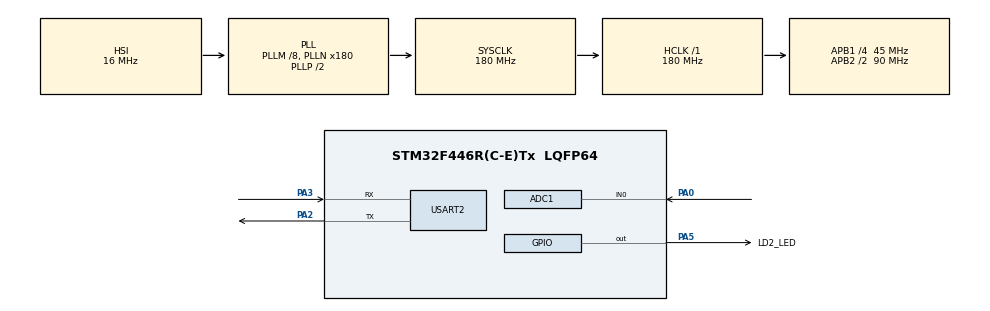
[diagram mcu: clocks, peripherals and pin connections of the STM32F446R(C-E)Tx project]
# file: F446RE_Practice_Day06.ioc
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ADC1.Channel-0\#ChannelRegularConversion=ADC_CHANNEL_0
ADC1.DMAContinuousRequests=ENABLE
ADC1.ExternalTrigConv=ADC_EXTERNALTRIGCONV_T3_TRGO
ADC1.NbrOfConversionFlag=1
ADC1.Rank-0\#ChannelRegularConversion=1
ADC1.SamplingTime-0\#ChannelRegularConversion=ADC_SAMPLETIME_84CYCLES
ADC1.master=1
Dma.ADC1.0.Direction=DMA_PERIPH_TO_MEMORY
Dma.ADC1.0.FIFOMode=DMA_FIFOMODE_DISABLE
Dma.ADC1.0.Instance=DMA2_Stream0
Dma.ADC1.0.MemDataAlignment=DMA_MDATAALIGN_HALFWORD
Dma.ADC1.0.MemInc=DMA_MINC_ENABLE
Dma.ADC1.0.Mode=DMA_CIRCULAR
Dma.ADC1.0.PeriphDataAlignment=DMA_PDATAALIGN_HALFWORD
Dma.ADC1.0.PeriphInc=DMA_PINC_DISABLE
Dma.ADC1.0.Priority=DMA_PRIORITY_LOW
Dma.Request0=ADC1
Mcu.Family=STM32F4
Mcu.Name=STM32F446R(C-E)Tx
Mcu.Package=LQFP64
NVIC.DMA2_Stream0_IRQn=true\:0\:0\:false\:false\:true\:false\:true\:true
NVIC.PriorityGroup=NVIC_PRIORITYGROUP_4
PA0-WKUP.Signal=ADCx_IN0
PA13.Mode=Serial_Wire
PA13.Signal=SYS_JTMS-SWDIO
PA14.Mode=Serial_Wire
PA14.Signal=SYS_JTCK-SWCLK
PA2.Mode=Asynchronous
PA2.Signal=USART2_TX
PA3.Mode=Asynchronous
PA3.Signal=USART2_RX
PA5.GPIO_Label=LD2_LED
PA5.Signal=GPIO_Output
ProjectManager.HeapSize=0x200
ProjectManager.StackSize=0x400
ProjectManager.TargetToolchain=STM32CubeIDE
RCC.AHBFreq_Value=180000000
RCC.APB1CLKDivider=RCC_HCLK_DIV4
RCC.APB1Freq_Value=45000000
RCC.APB1TimFreq_Value=90000000
RCC.APB2CLKDivider=RCC_HCLK_DIV2
RCC.APB2Freq_Value=90000000
RCC.APB2TimFreq_Value=180000000
RCC.CortexFreq_Value=180000000
RCC.HCLKFreq_Value=180000000
RCC.PLLM=8
RCC.PLLN=180
RCC.SYSCLKFreq_VALUE=180000000
RCC.SYSCLKSource=RCC_SYSCLKSOURCE_PLLCLK
RCC.USBFreq_Value=180000000
RCC.VCOOutputFreq_Value=360000000
SH.ADCx_IN0.0=ADC1_IN0,IN0
TIM3.Period=9
TIM3.Prescaler=8999
TIM3.TIM_MasterOutputTrigger=TIM_TRGO_UPDATE
USART2.VirtualMode=VM_ASYNC
VP_TIM3_VS_ClockSourceINT.Mode=Internal
board=custom

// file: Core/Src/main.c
/* USER CODE BEGIN Header */
/**
  ******************************************************************************
  * @file           : main.c
  * @brief          : Main program body
  ******************************************************************************
  * @attention
  *
  * Copyright (c) 2026 STMicroelectronics.
  * All rights reserved.
  *
  * This software is licensed under terms that can be found in the LICENSE file
  * in the root directory of this software component.
  * If no LICENSE file comes with this software, it is provided AS-IS.
  *
  ******************************************************************************
  */
/* USER CODE END Header */
#include "main.h"

ADC_HandleTypeDef hadc1;
DMA_HandleTypeDef hdma_adc1;

TIM_HandleTypeDef htim3;

UART_HandleTypeDef huart2;

/* USER CODE BEGIN PV */

#define ADC_BUFFER_SIZE 64U
#define ADC_HALF_SIZE   (ADC_BUFFER_SIZE / 2U)

uint16_t adc_buffer[ADC_BUFFER_SIZE];

volatile uint8_t adc_ready_flags = 0U;

volatile uint16_t adc_average_raw = 0U;
volatile uint32_t adc_voltage_mv = 0U;
volatile uint32_t adc_block_count = 0U;

/* USER CODE END PV */

void SystemClock_Config(void);
static void MX_GPIO_Init(void);
static void MX_DMA_Init(void);
static void MX_ADC1_Init(void);
static void MX_USART2_UART_Init(void);
static void MX_TIM3_Init(void);

/* USER CODE BEGIN 0 */

static uint16_t ADC_CalculateAverage(
    const uint16_t *samples,
    uint32_t count)
{
    uint32_t sum = 0U;

    for (uint32_t i = 0U; i < count; i++)
    {
        sum += samples[i];
    }

    return (uint16_t)(sum / count);
}

/* USER CODE END 0 */

int main(void)
{

  /* MCU Configuration--------------------------------------------------------*/

  /* Reset of all peripherals, Initializes the Flash interface and the Systick. */
  HAL_Init();

  /* Configure the system clock */
  SystemClock_Config();

  /* Initialize all configured peripherals */
  MX_GPIO_Init();
  MX_DMA_Init();
  MX_ADC1_Init();
  MX_USART2_UART_Init();
  MX_TIM3_Init();
  /* USER CODE BEGIN 2 */

  if (HAL_ADC_Start_DMA(
          &hadc1,
          (uint32_t *)adc_buffer,
          ADC_BUFFER_SIZE) != HAL_OK)
  {
      Error_Handler();
  }

  if (HAL_TIM_Base_Start(&htim3) != HAL_OK)
  {
      Error_Handler();
  }

  /* USER CODE END 2 */

  /* Infinite loop */
  while (1)
  {

    /* USER CODE BEGIN 3 */

	  uint8_t flags;

	  /*
	   * 防止讀取與清除旗標時，DMA 中斷同時修改它。
	   */
	  uint32_t primask = __get_PRIMASK();
	  __disable_irq();

	  flags = adc_ready_flags;
	  adc_ready_flags = 0U;

	  if (primask == 0U)
	  {
		  __enable_irq();
	  }

	  if ((flags & 0x01U) != 0U)
	  {
		  adc_average_raw = ADC_CalculateAverage(
			  &adc_buffer[0],
			  ADC_HALF_SIZE);

		  adc_block_count++;
	  }

	  if ((flags & 0x02U) != 0U)
	  {
		  adc_average_raw = ADC_CalculateAverage(
			  &adc_buffer[ADC_HALF_SIZE],
			  ADC_HALF_SIZE);

		  adc_block_count++;
	  }

	  /*
	   * 假設 VDDA 約為 3300 mV。
	   */
	  adc_voltage_mv =
		  ((uint32_t)adc_average_raw * 3300U) / 4095U;

	  if (adc_average_raw >= 2048U)
	  {
		  HAL_GPIO_WritePin(
			  GPIOA,
			  GPIO_PIN_5,
			  GPIO_PIN_SET);
	  }
	  else
	  {
		  HAL_GPIO_WritePin(
			  GPIOA,
			  GPIO_PIN_5,
			  GPIO_PIN_RESET);
	  }

  }
  /* USER CODE END 3 */
}

void SystemClock_Config(void)
{
  RCC_OscInitTypeDef RCC_OscInitStruct = {0};
  RCC_ClkInitTypeDef RCC_ClkInitStruct = {0};

  /** Configure the main internal regulator output voltage
  */
  __HAL_RCC_PWR_CLK_ENABLE();
  __HAL_PWR_VOLTAGESCALING_CONFIG(PWR_REGULATOR_VOLTAGE_SCALE1);

  /** Initializes the RCC Oscillators according to the specified parameters
  * in the RCC_OscInitTypeDef structure.
  */
  RCC_OscInitStruct.OscillatorType = RCC_OSCILLATORTYPE_HSI;
  RCC_OscInitStruct.HSIState = RCC_HSI_ON;
  RCC_OscInitStruct.HSICalibrationValue = RCC_HSICALIBRATION_DEFAULT;
  RCC_OscInitStruct.PLL.PLLState = RCC_PLL_ON;
  RCC_OscInitStruct.PLL.PLLSource = RCC_PLLSOURCE_HSI;
  RCC_OscInitStruct.PLL.PLLM = 8;
  RCC_OscInitStruct.PLL.PLLN = 180;
  RCC_OscInitStruct.PLL.PLLP = RCC_PLLP_DIV2;
  RCC_OscInitStruct.PLL.PLLQ = 2;
  RCC_OscInitStruct.PLL.PLLR = 2;
  if (HAL_RCC_OscConfig(&RCC_OscInitStruct) != HAL_OK)
  {
    Error_Handler();
  }

  /** Activate the Over-Drive mode
  */
  if (HAL_PWREx_EnableOverDrive() != HAL_OK)
  {
    Error_Handler();
  }

  /** Initializes the CPU, AHB and APB buses clocks
  */
  RCC_ClkInitStruct.ClockType = RCC_CLOCKTYPE_HCLK|RCC_CLOCKTYPE_SYSCLK
                              |RCC_CLOCKTYPE_PCLK1|RCC_CLOCKTYPE_PCLK2;
  RCC_ClkInitStruct.SYSCLKSource = RCC_SYSCLKSOURCE_PLLCLK;
  RCC_ClkInitStruct.AHBCLKDivider = RCC_SYSCLK_DIV1;
  RCC_ClkInitStruct.APB1CLKDivider = RCC_HCLK_DIV4;
  RCC_ClkInitStruct.APB2CLKDivider = RCC_HCLK_DIV2;

  if (HAL_RCC_ClockConfig(&RCC_ClkInitStruct, FLASH_LATENCY_5) != HAL_OK)
  {
    Error_Handler();
  }
}

static void MX_ADC1_Init(void)
{

  ADC_ChannelConfTypeDef sConfig = {0};

  /** Configure the global features of the ADC (Clock, Resolution, Data Alignment and number of conversion)
  */
  hadc1.Instance = ADC1;
  hadc1.Init.ClockPrescaler = ADC_CLOCK_SYNC_PCLK_DIV4;
  hadc1.Init.Resolution = ADC_RESOLUTION_12B;
  hadc1.Init.ScanConvMode = DISABLE;
  hadc1.Init.ContinuousConvMode = DISABLE;
  hadc1.Init.DiscontinuousConvMode = DISABLE;
  hadc1.Init.ExternalTrigConvEdge = ADC_EXTERNALTRIGCONVEDGE_RISING;
  hadc1.Init.ExternalTrigConv = ADC_EXTERNALTRIGCONV_T3_TRGO;
  hadc1.Init.DataAlign = ADC_DATAALIGN_RIGHT;
  hadc1.Init.NbrOfConversion = 1;
  hadc1.Init.DMAContinuousRequests = ENABLE;
  hadc1.Init.EOCSelection = ADC_EOC_SINGLE_CONV;
  if (HAL_ADC_Init(&hadc1) != HAL_OK)
  {
    Error_Handler();
  }

  /** Configure for the selected ADC regular channel its corresponding rank in the sequencer and its sample time.
  */
  sConfig.Channel = ADC_CHANNEL_0;
  sConfig.Rank = 1;
  sConfig.SamplingTime = ADC_SAMPLETIME_84CYCLES;
  if (HAL_ADC_ConfigChannel(&hadc1, &sConfig) != HAL_OK)
  {
    Error_Handler();
  }

}

static void MX_TIM3_Init(void)
{

  TIM_ClockConfigTypeDef sClockSourceConfig = {0};
  TIM_MasterConfigTypeDef sMasterConfig = {0};

  htim3.Instance = TIM3;
  htim3.Init.Prescaler = 8999;
  htim3.Init.CounterMode = TIM_COUNTERMODE_UP;
  htim3.Init.Period = 9;
  htim3.Init.ClockDivision = TIM_CLOCKDIVISION_DIV1;
  htim3.Init.AutoReloadPreload = TIM_AUTORELOAD_PRELOAD_DISABLE;
  if (HAL_TIM_Base_Init(&htim3) != HAL_OK)
  {
    Error_Handler();
  }
  sClockSourceConfig.ClockSource = TIM_CLOCKSOURCE_INTERNAL;
  if (HAL_TIM_ConfigClockSource(&htim3, &sClockSourceConfig) != HAL_OK)
  {
    Error_Handler();
  }
  sMasterConfig.MasterOutputTrigger = TIM_TRGO_UPDATE;
  sMasterConfig.MasterSlaveMode = TIM_MASTERSLAVEMODE_DISABLE;
  if (HAL_TIMEx_MasterConfigSynchronization(&htim3, &sMasterConfig) != HAL_OK)
  {
    Error_Handler();
  }

}

static void MX_USART2_UART_Init(void)
{

  huart2.Instance = USART2;
  huart2.Init.BaudRate = 115200;
  huart2.Init.WordLength = UART_WORDLENGTH_8B;
  huart2.Init.StopBits = UART_STOPBITS_1;
  huart2.Init.Parity = UART_PARITY_NONE;
  huart2.Init.Mode = UART_MODE_TX_RX;
  huart2.Init.HwFlowCtl = UART_HWCONTROL_NONE;
  huart2.Init.OverSampling = UART_OVERSAMPLING_16;
  if (HAL_UART_Init(&huart2) != HAL_OK)
  {
    Error_Handler();
  }

}

static void MX_DMA_Init(void)
{

  /* DMA controller clock enable */
  __HAL_RCC_DMA2_CLK_ENABLE();

  /* DMA interrupt init */
  /* DMA2_Stream0_IRQn interrupt configuration */
  HAL_NVIC_SetPriority(DMA2_Stream0_IRQn, 0, 0);
  HAL_NVIC_EnableIRQ(DMA2_Stream0_IRQn);

}

static void MX_GPIO_Init(void)
{
  GPIO_InitTypeDef GPIO_InitStruct = {0};

  /* GPIO Ports Clock Enable */
  __HAL_RCC_GPIOA_CLK_ENABLE();

  /*Configure GPIO pin Output Level */
  HAL_GPIO_WritePin(LD2_LED_GPIO_Port, LD2_LED_Pin, GPIO_PIN_RESET);

  /*Configure GPIO pin : LD2_LED_Pin */
  GPIO_InitStruct.Pin = LD2_LED_Pin;
  GPIO_InitStruct.Mode = GPIO_MODE_OUTPUT_PP;
  GPIO_InitStruct.Pull = GPIO_NOPULL;
  GPIO_InitStruct.Speed = GPIO_SPEED_FREQ_LOW;
  HAL_GPIO_Init(LD2_LED_GPIO_Port, &GPIO_InitStruct);

}

/* USER CODE BEGIN 4 */

void HAL_ADC_ConvHalfCpltCallback(ADC_HandleTypeDef *hadc)
{
    if (hadc->Instance == ADC1)
    {
        adc_ready_flags |= 0x01U;
    }
}

void HAL_ADC_ConvCpltCallback(ADC_HandleTypeDef *hadc)
{
    if (hadc->Instance == ADC1)
    {
        adc_ready_flags |= 0x02U;
    }
}

/* USER CODE END 4 */

void Error_Handler(void)
{
  __disable_irq();
  while (1)
  {
  }
}
